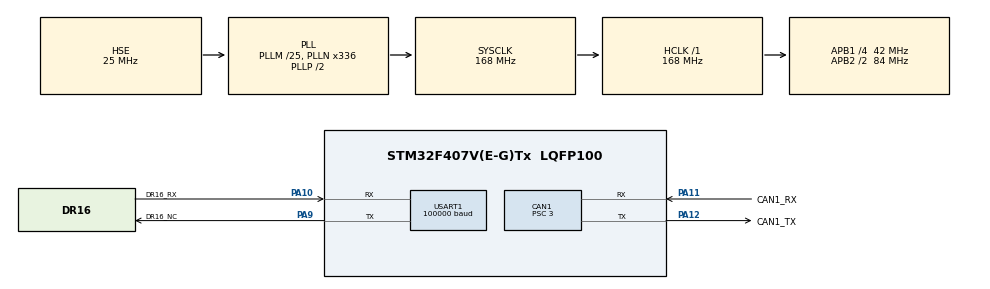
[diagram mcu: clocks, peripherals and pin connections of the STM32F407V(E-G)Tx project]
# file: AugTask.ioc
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CAN1.BS1=CAN_BS1_10TQ
CAN1.BS2=CAN_BS2_4TQ
CAN1.CalculateBaudRate=933333
CAN1.CalculateTimeBit=1071.42
CAN1.CalculateTimeQuantum=71.42857142857143
CAN1.Prescaler=3
Dma.Request0=USART1_RX
Dma.USART1_RX.0.Direction=DMA_PERIPH_TO_MEMORY
Dma.USART1_RX.0.FIFOMode=DMA_FIFOMODE_DISABLE
Dma.USART1_RX.0.Instance=DMA2_Stream2
Dma.USART1_RX.0.MemDataAlignment=DMA_MDATAALIGN_BYTE
Dma.USART1_RX.0.MemInc=DMA_MINC_ENABLE
Dma.USART1_RX.0.Mode=DMA_NORMAL
Dma.USART1_RX.0.PeriphDataAlignment=DMA_PDATAALIGN_BYTE
Dma.USART1_RX.0.PeriphInc=DMA_PINC_DISABLE
Dma.USART1_RX.0.Priority=DMA_PRIORITY_VERY_HIGH
FREERTOS.Queues01=MsgToCM,16,uint32_t,0,Dynamic,NULL,NULL
FREERTOS.Tasks01=Message,0,128,taskMessage,Default,NULL,Dynamic,NULL,NULL;ChassisMotor,3,512,taskChassisMotor,Default,NULL,Dynamic,NULL,NULL
Mcu.Family=STM32F4
Mcu.Name=STM32F407V(E-G)Tx
Mcu.Package=LQFP100
NVIC.CAN1_RX0_IRQn=true\:5\:0\:false\:false\:true\:true\:true\:true
NVIC.CAN1_TX_IRQn=true\:5\:0\:false\:false\:true\:true\:true\:true
NVIC.DMA2_Stream2_IRQn=true\:5\:0\:false\:false\:true\:true\:false\:true
NVIC.PriorityGroup=NVIC_PRIORITYGROUP_4
NVIC.TIM6_DAC_IRQn=true\:0\:0\:false\:false\:true\:false\:false\:true
NVIC.TimeBase=TIM6_DAC_IRQn
NVIC.TimeBaseIP=TIM6
NVIC.USART1_IRQn=true\:5\:0\:false\:false\:true\:true\:true\:true
PA10.GPIO_Label=DR16_RX
PA10.Mode=Asynchronous
PA10.Signal=USART1_RX
PA11.GPIO_Label=CAN1_RX
PA11.Mode=CAN_Activate
PA11.Signal=CAN1_RX
PA12.GPIO_Label=CAN1_TX
PA12.Mode=CAN_Activate
PA12.Signal=CAN1_TX
PA13.Mode=Serial_Wire
PA13.Signal=SYS_JTMS-SWDIO
PA14.Mode=Serial_Wire
PA14.Signal=SYS_JTCK-SWCLK
PA9.GPIO_Label=DR16_NC
PA9.Mode=Asynchronous
PA9.Signal=USART1_TX
PH0-OSC_IN.Mode=HSE-External-Oscillator
PH0-OSC_IN.Signal=RCC_OSC_IN
PH1-OSC_OUT.Mode=HSE-External-Oscillator
PH1-OSC_OUT.Signal=RCC_OSC_OUT
ProjectManager.HeapSize=0x200
ProjectManager.StackSize=0x400
ProjectManager.TargetToolchain=MDK-ARM V5.27
RCC.48MHZClocksFreq_Value=84000000
RCC.AHBFreq_Value=168000000
RCC.APB1CLKDivider=RCC_HCLK_DIV4
RCC.APB1Freq_Value=42000000
RCC.APB1TimFreq_Value=84000000
RCC.APB2CLKDivider=RCC_HCLK_DIV2
RCC.APB2Freq_Value=84000000
RCC.APB2TimFreq_Value=168000000
RCC.CortexFreq_Value=168000000
RCC.HCLKFreq_Value=168000000
RCC.HSE_VALUE=25000000
RCC.HSI_VALUE=16000000
RCC.LSE_VALUE=32768
RCC.PLLM=25
RCC.PLLN=336
RCC.PLLSourceVirtual=RCC_PLLSOURCE_HSE
RCC.SYSCLKFreq_VALUE=168000000
RCC.SYSCLKSource=RCC_SYSCLKSOURCE_PLLCLK
RCC.VCOOutputFreq_Value=336000000
USART1.BaudRate=100000
USART1.Mode=MODE_RX
USART1.Parity=PARITY_EVEN
USART1.VirtualMode=VM_ASYNC
USART1.WordLength=WORDLENGTH_9B
VP_FREERTOS_VS_CMSIS_V1.Mode=CMSIS_V1
VP_SYS_VS_tim6.Mode=TIM6
board=custom

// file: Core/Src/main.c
/* USER CODE BEGIN Header */
/**
  ******************************************************************************
  * @file           : main.c
  * @brief          : Main program body
  ******************************************************************************
  * @attention
  *
  * <h2><center>&copy; Copyright (c) 2021 STMicroelectronics.
  * All rights reserved.</center></h2>
  *
  * This software component is licensed by ST under Ultimate Liberty license
  * SLA0044, the "License"; You may not use this file except in compliance with
  * the License. You may obtain a copy of the License at:
  *                             www.st.com/SLA0044
  *
  ******************************************************************************
  */
/* USER CODE END Header */
#include "main.h"
#include "cmsis_os.h"
#include "can.h"
#include "dma.h"
#include "usart.h"
#include "gpio.h"

/* USER CODE BEGIN PV */
extern uint8_t uart1_buf[18];
/* USER CODE END PV */

void SystemClock_Config(void);
void MX_FREERTOS_Init(void);

int main(void)
{

  /* MCU Configuration--------------------------------------------------------*/

  /* Reset of all peripherals, Initializes the Flash interface and the Systick. */
  HAL_Init();

  /* Configure the system clock */
  SystemClock_Config();

  /* Initialize all configured peripherals */
  MX_GPIO_Init();
  MX_DMA_Init();
  MX_CAN1_Init();
  MX_USART1_UART_Init();
  /* USER CODE BEGIN 2 */
	UART1_RemoteStart();
	CAN1_FilterInit();
  /* USER CODE END 2 */

  /* Call init function for freertos objects (in freertos.c) */
  MX_FREERTOS_Init();
  /* Start scheduler */
  osKernelStart();

  /* We should never get here as control is now taken by the scheduler */
  /* Infinite loop */
  while (1)
  {

  }
}

void SystemClock_Config(void)
{
  RCC_OscInitTypeDef RCC_OscInitStruct = {0};
  RCC_ClkInitTypeDef RCC_ClkInitStruct = {0};

  /** Configure the main internal regulator output voltage
  */
  __HAL_RCC_PWR_CLK_ENABLE();
  __HAL_PWR_VOLTAGESCALING_CONFIG(PWR_REGULATOR_VOLTAGE_SCALE1);
  /** Initializes the RCC Oscillators according to the specified parameters
  * in the RCC_OscInitTypeDef structure.
  */
  RCC_OscInitStruct.OscillatorType = RCC_OSCILLATORTYPE_HSE;
  RCC_OscInitStruct.HSEState = RCC_HSE_ON;
  RCC_OscInitStruct.PLL.PLLState = RCC_PLL_ON;
  RCC_OscInitStruct.PLL.PLLSource = RCC_PLLSOURCE_HSE;
  RCC_OscInitStruct.PLL.PLLM = 25;
  RCC_OscInitStruct.PLL.PLLN = 336;
  RCC_OscInitStruct.PLL.PLLP = RCC_PLLP_DIV2;
  RCC_OscInitStruct.PLL.PLLQ = 4;
  if (HAL_RCC_OscConfig(&RCC_OscInitStruct) != HAL_OK)
  {
    Error_Handler();
  }
  /** Initializes the CPU, AHB and APB buses clocks
  */
  RCC_ClkInitStruct.ClockType = RCC_CLOCKTYPE_HCLK|RCC_CLOCKTYPE_SYSCLK
                              |RCC_CLOCKTYPE_PCLK1|RCC_CLOCKTYPE_PCLK2;
  RCC_ClkInitStruct.SYSCLKSource = RCC_SYSCLKSOURCE_PLLCLK;
  RCC_ClkInitStruct.AHBCLKDivider = RCC_SYSCLK_DIV1;
  RCC_ClkInitStruct.APB1CLKDivider = RCC_HCLK_DIV4;
  RCC_ClkInitStruct.APB2CLKDivider = RCC_HCLK_DIV2;

  if (HAL_RCC_ClockConfig(&RCC_ClkInitStruct, FLASH_LATENCY_5) != HAL_OK)
  {
    Error_Handler();
  }
}

 /**
  * @brief  Period elapsed callback in non blocking mode
  * @note   This function is called  when TIM6 interrupt took place, inside
  * HAL_TIM_IRQHandler(). It makes a direct call to HAL_IncTick() to increment
  * a global variable "uwTick" used as application time base.
  * @param  htim : TIM handle
  * @retval None
  */
void HAL_TIM_PeriodElapsedCallback(TIM_HandleTypeDef *htim)
{
  if (htim->Instance == TIM6) {
    HAL_IncTick();
  }
}

void Error_Handler(void)
{
  __disable_irq();
  while (1)
  {
  }
}

/************************ (C) COPYRIGHT STMicroelectronics *****END OF FILE****/

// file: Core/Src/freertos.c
/* USER CODE BEGIN Header */
/**
  ******************************************************************************
  * File Name          : freertos.c
  * Description        : Code for freertos applications
  ******************************************************************************
  * @attention
  *
  * <h2><center>&copy; Copyright (c) 2021 STMicroelectronics.
  * All rights reserved.</center></h2>
  *
  * This software component is licensed by ST under Ultimate Liberty license
  * SLA0044, the "License"; You may not use this file except in compliance with
  * the License. You may obtain a copy of the License at:
  *                             www.st.com/SLA0044
  *
  ******************************************************************************
  */
/* USER CODE END Header */

#include "FreeRTOS.h"
#include "task.h"
#include "main.h"
#include "cmsis_os.h"

/* USER CODE BEGIN Includes */
#include "usart.h"
#include "message.h"
#include "motor_chassis.h"
/* USER CODE END Includes */

/* USER CODE BEGIN Variables */
osEvent evt;
/* USER CODE END Variables */
osThreadId MessageHandle;
osThreadId ChassisMotorHandle;
osMessageQId MsgToCMHandle;

void taskMessage(void const * argument);
void taskChassisMotor(void const * argument);

void MX_FREERTOS_Init(void); /* (MISRA C 2004 rule 8.1) */

/* GetIdleTaskMemory prototype (linked to static allocation support) */
void vApplicationGetIdleTaskMemory( StaticTask_t **ppxIdleTaskTCBBuffer, StackType_t **ppxIdleTaskStackBuffer, uint32_t *pulIdleTaskStackSize );

/* USER CODE BEGIN GET_IDLE_TASK_MEMORY */
static StaticTask_t xIdleTaskTCBBuffer;
static StackType_t xIdleStack[configMINIMAL_STACK_SIZE];

void vApplicationGetIdleTaskMemory( StaticTask_t **ppxIdleTaskTCBBuffer, StackType_t **ppxIdleTaskStackBuffer, uint32_t *pulIdleTaskStackSize )
{
  *ppxIdleTaskTCBBuffer = &xIdleTaskTCBBuffer;
  *ppxIdleTaskStackBuffer = &xIdleStack[0];
  *pulIdleTaskStackSize = configMINIMAL_STACK_SIZE;
  /* place for user code */
}
/* USER CODE END GET_IDLE_TASK_MEMORY */

void MX_FREERTOS_Init(void) {

  /* Create the queue(s) */
  /* definition and creation of MsgToCM */
  osMessageQDef(MsgToCM, 16, uint32_t);
  MsgToCMHandle = osMessageCreate(osMessageQ(MsgToCM), NULL);

  /* Create the thread(s) */
  /* definition and creation of Message */
  osThreadDef(Message, taskMessage, osPriorityNormal, 0, 128);
  MessageHandle = osThreadCreate(osThread(Message), NULL);

  /* definition and creation of ChassisMotor */
  osThreadDef(ChassisMotor, taskChassisMotor, osPriorityRealtime, 0, 512);
  ChassisMotorHandle = osThreadCreate(osThread(ChassisMotor), NULL);

}

void taskMessage(void const * argument)
{
  /* USER CODE BEGIN taskMessage */
  /* Infinite loop */
  for(;;)
  {
      RemoteData_t RDMsg;
      RemoteDataMsg_Process(&RDMsg);
      osMessagePut(MsgToCMHandle, (uint32_t)&RDMsg, 0);
      osDelay(10);
  }
  /* USER CODE END taskMessage */
}

void taskChassisMotor(void const * argument)
{
  /* USER CODE BEGIN taskChassisMotor */
	RemoteData_t *RDMsg;
  Motor_Chassis_Init();
  /* Infinite loop */
  for(;;)
  {
		 evt = osMessageGet(MsgToCMHandle,0);
     if(evt.status == osEventMessage)
     {
        RDMsg = (RemoteData_t*)evt.value.v;
     }
		 Chassis_Process(*RDMsg);
    osDelay(5);
  }
  /* USER CODE END taskChassisMotor */
}

/************************ (C) COPYRIGHT STMicroelectronics *****END OF FILE****/
